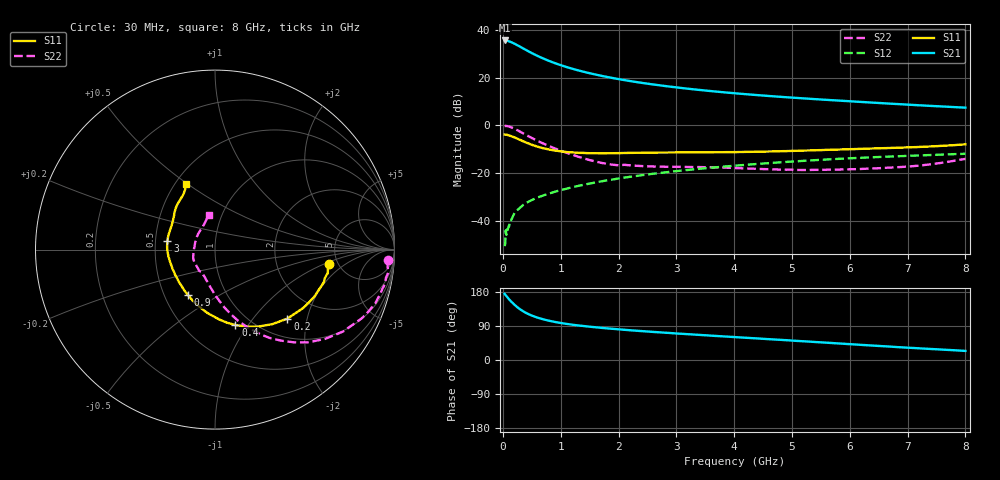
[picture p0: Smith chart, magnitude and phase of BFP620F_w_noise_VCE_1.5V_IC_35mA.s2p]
! Infineon Technologies  Discrete & RF Semiconductors
! BFP620F
! VCE =  1.5 V,  IC =  35 mA
! Common Emitter S-Parameters:  Dec 2014
# GHz  S  MA  R  50
!  f  S11  S21  S12  S22
! GHz  MAG  ANG  MAG  ANG  MAG  ANG  MAG  ANG
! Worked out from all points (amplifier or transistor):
!   95 points, 30 MHz to 8 GHz, reference 50 ohm
!   highest |S21| = 35.6 dB at 30 MHz (marker M1)
!   |S21| within 3 dB of that: start of sweep to 325.4 MHz
!   unconditionally stable (mu >= 1): 2.312 GHz to end of sweep
!   at 300 MHz: K = 0.40, MSG = 33.8 dB, |S12| = -34.6 dB
!   at 3.3 GHz: K = 1.02, MAG = 15.8 dB, |S12| = -18.5 dB
!   at 8 GHz: K = 1.05, MAG = 8.3 dB, |S12| = -12.0 dB
!   lowest NFmin = 1.25 dB at 450 MHz
!   S11 on the Smith chart (normalised r, x): 30 MHz: 4.25, -1.15; 200 MHz: 1.37, -1.53; 400 MHz: 0.84, -0.87; 900 MHz: 0.66, -0.37; 3 GHz: 0.58, +0.06; 8 GHz: 0.57, +0.49
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0.03  0.6414 -7.1  60.44 174.6  0.0029 93.7  0.9635 -3.6
0.07  0.6331 -16.6  59.7 167.1  0.0065 93.1  0.9667 -11.3
0.12  0.6047 -27.7  57.06 158.1  0.0098 81.4  0.9306 -20.3
0.15  0.5877 -33.9  55.26 153.3  0.0106 78.0  0.9019 -25.2
0.2  0.5573 -43.6  51.68 145.9  0.0144 72.8  0.8472 -32.6
0.25  0.5237 -52.5  48.09 139.3  0.0166 73.3  0.7893 -39.1
0.3  0.4924 -60.5  44.55 133.6  0.0187 69.5  0.7329 -44.8
0.35  0.4625 -68.0  41.15 128.7  0.0212 67.9  0.6773 -49.7
0.4  0.4353 -74.9  38.14 124.3  0.0234 66.3  0.6271 -54.0
0.5  0.3901 -86.5  32.83 117.3  0.027 65.6  0.5417 -61.3
0.6  0.3558 -96.8  28.59 111.7  0.0305 64.9  0.4707 -67.2
0.7  0.3295 -105.6  25.2 107.2  0.0337 64.8  0.4138 -72.3
0.9  0.2945 -120.6  20.19 100.4  0.0403 64.3  0.327 -80.7
1.1  0.2745 -133.0  16.74 95.3  0.0466 64.5  0.2652 -88.1
1.4  0.2627 -147.8  13.28 89.6  0.0566 64.2  0.2021 -98.9
2  0.2604 -168.9  9.343 81.0  0.0764 62.9  0.1446 -122.6
2.7  0.2678 175.2  6.938 73.1  0.0992 59.6  0.1356 -142.4
3  0.2695 169.5  6.255 70.0  0.1092 58.0  0.1347 -148.3
4.1  0.275 152.9  4.608 59.6  0.1447 51.6  0.1256 -164.6
5.4  0.2994 139.5  3.545 47.5  0.1855 42.8  0.1161 167.1
6.7  0.3343 126.9  2.849 35.3  0.2209 33.2  0.1295 135.0
8  0.3984 113.9  2.349 24.0  0.2523 23.8  0.1973 100.5
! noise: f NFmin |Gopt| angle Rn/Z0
0.45  1.25  0.11  -173  0.16
0.9  1.28  0.11  -172  0.13
1.5  1.29  0.16  -150  0.12
1.8  1.3  0.16  -150  0.13
1.9  1.3  0.16  -149  0.13
2.4  1.32  0.17  215  0.15
3.5  1.38  0.18  220  0.18
5.5  1.52  0.24  245  0.15
6  1.56  0.25  260  0.17
